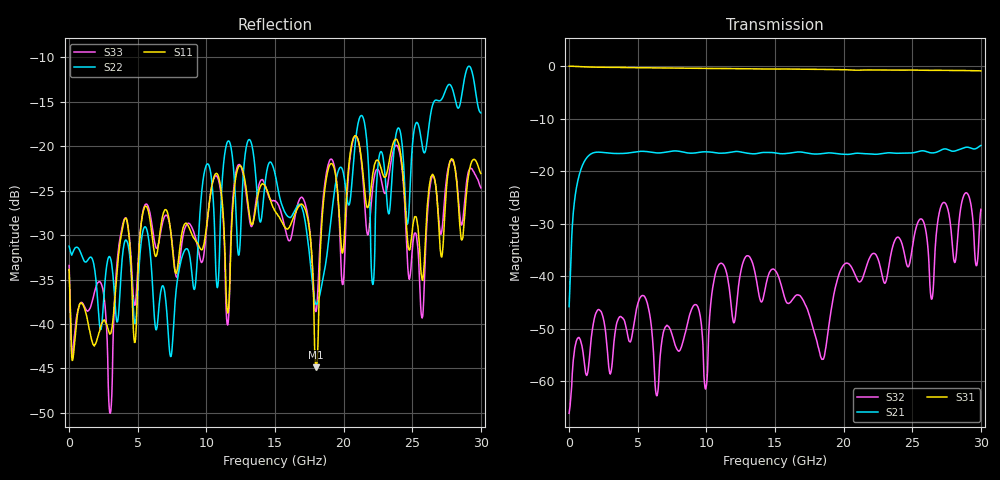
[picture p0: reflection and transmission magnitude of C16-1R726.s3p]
! MARKI MICROWAVE INC.
! Email:  info@markimicrowave.com  Phone:  408-778-4200
! Model Number:  C10-0226  Date:  10/12
! Filename:		C10-0226.S4P  Version: 1.0
! Description:  4-port S-parameter data for Directional Coupler C10-0226
! Frequency Range: 	10 MHz to 26.5 GHz
! Port Configuration:	PORT 1: Input
!  PORT 2: Output
!  Port 3: Coupled
!  Port 4: Isolated
! S4P File: Measurements: Mag<S11> Ang<S11> Mag<S12> Ang<S12> Mag<S13> Ang<S13> Mag<S14> Ang<S14>! row 1
!  Mag<S21> Ang<S21> Mag<S22> Ang<S22> Mag<S23> Ang<S23> Mag<S24> Ang<S24>! row 2
!  Mag<S31> Ang<S31> Mag<S32> Ang<S32> Mag<S33> Ang<S33> Mag<S34> Ang<S34>! row 3
!  Mag<S41> Ang<S41> Mag<S42> Ang<S42> Mag<S43> Ang<S43> Mag<S44> Ang<S44>! row 4
# Hz S  dB  R 50
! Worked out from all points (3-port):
!   801 points, 10 MHz to 30 GHz, reference 50 ohm
!   strongest paths, dB at 10 MHz, 7.508 GHz, 15.01 GHz, 22.5 GHz, 30 GHz:
!     S31: 0.0, -0.4, -0.6, -0.7, -0.9
!     S21: -45.8, -16.2, -16.5, -16.8, -15.1
!     S32: -66.1, -51.1, -38.8, -36.7, -27.3
!   lowest |S11| = -44.9 dB at 18 GHz (marker M1), VSWR 1.01, Z = 49.8 - j0.522 ohm
!   |S11| at or under -10 dB: start of sweep to end of sweep
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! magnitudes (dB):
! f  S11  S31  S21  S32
! 10 MHz  -33.9  0.0  -45.8  -66.1
! 1.51 GHz  -40.8  -0.2  -16.9  -54.9
! 7.433 GHz  -29.9  -0.4  -16.2  -50.5
! 9.944 GHz  -29.9  -0.4  -16.3  -61.5
! 10.88 GHz  -23.4  -0.5  -16.6  -37.9
! 15.01 GHz  -27.3  -0.6  -16.5  -38.8
! 18 GHz  -44.9  -0.6  -16.7  -51.9
! 20.78 GHz  -18.9  -0.8  -16.6  -39.4
! 25.69 GHz  -34.7  -0.8  -16.1  -29.1
! 30 GHz  -23.1  -0.9  -15.1  -27.3
